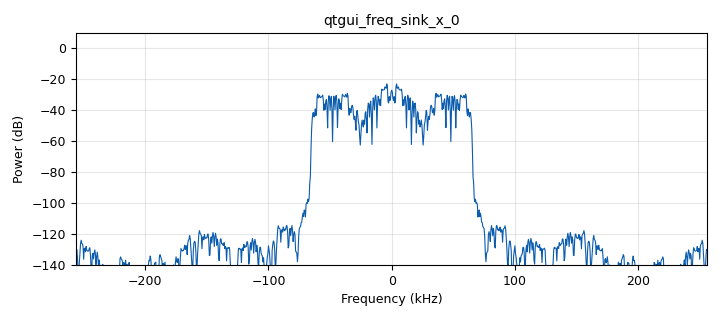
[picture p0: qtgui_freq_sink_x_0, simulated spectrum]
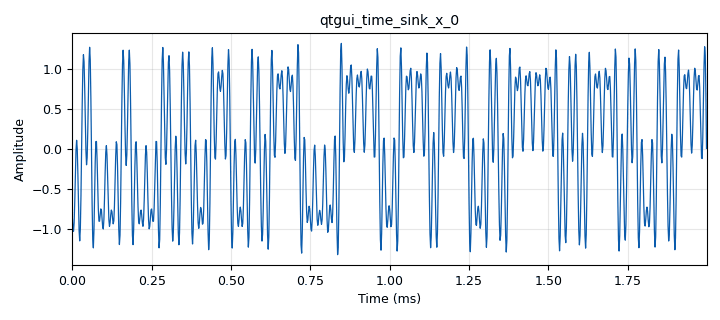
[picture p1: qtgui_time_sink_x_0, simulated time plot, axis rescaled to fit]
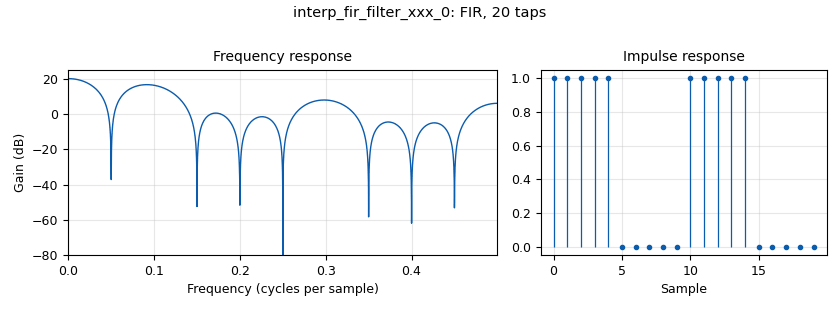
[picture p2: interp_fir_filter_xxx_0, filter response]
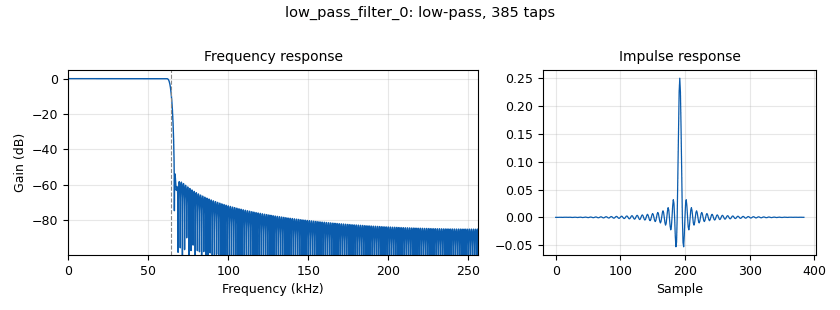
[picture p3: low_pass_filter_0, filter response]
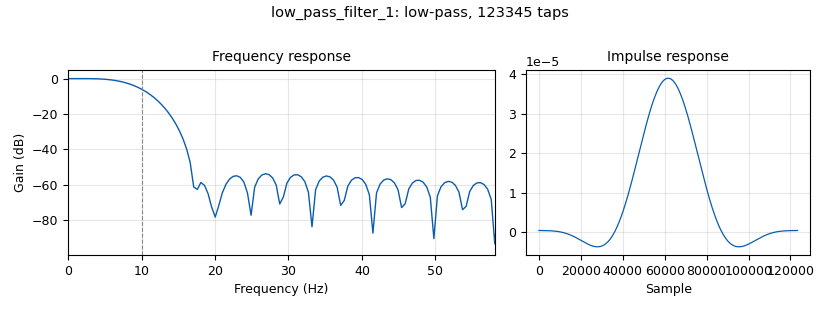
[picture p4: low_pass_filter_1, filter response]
<?xml version='1.0' encoding='utf-8'?>
<?grc format='1' created='3.7.10'?>
<flow_graph>
<block>
<key>options</key>
<param><key>id</key><value>power_spectral_density_and_average_power</value></param>
<param><key>author</key><value>Alexandros-Apostolos A. Boulogeorgos</value></param>
<param><key>generate_options</key><value>qt_gui</value></param>
<param><key>title</key><value>Power spectral density and average power</value></param>
</block>
<block>
<key>variable</key>
<param><key>id</key><value>glfsrSourceDegree</value></param>
<param><key>value</key><value>22</value></param>
</block>
<block>
<key>variable</key>
<param><key>id</key><value>interpolation</value></param>
<param><key>value</key><value>16</value></param>
</block>
<block>
<key>variable</key>
<param><key>id</key><value>samp_rate</value></param>
<param><key>value</key><value>512000</value></param>
</block>
<block>
<key>variable</key>
<param><key>id</key><value>sr</value></param>
<param><key>value</key><value>32000</value></param>
</block>
<block>
<key>blocks_multiply_xx</key>
<param><key>id</key><value>blocks_multiply_xx_0</value></param>
<param><key>type</key><value>float</value></param>
</block>
<block>
<key>blocks_throttle</key>
<param><key>id</key><value>blocks_throttle_0</value></param>
<param><key>samples_per_second</key><value>sr</value></param>
<param><key>type</key><value>float</value></param>
</block>
<block>
<key>digital_glfsr_source_x</key>
<param><key>id</key><value>digital_glfsr_source_x_0</value></param>
<param><key>degree</key><value>glfsrSourceDegree</value></param>
<param><key>mask</key><value>0</value></param>
<param><key>repeat</key><value>True</value></param>
<param><key>seed</key><value>1</value></param>
<param><key>type</key><value>float</value></param>
</block>
<block>
<key>interp_fir_filter_xxx</key>
<param><key>id</key><value>interp_fir_filter_xxx_0</value></param>
<param><key>interp</key><value>interpolation</value></param>
<param><key>taps</key><value>(1, 1, 1, 1, 1, 0, 0, 0, 0, 0,1, 1, 1, 1, 1, 0, 0, 0, 0, 0)</value></param>
<param><key>type</key><value>fff</value></param>
</block>
<block>
<key>low_pass_filter</key>
<param><key>id</key><value>low_pass_filter_0</value></param>
<param><key>cutoff_freq</key><value>64000</value></param>
<param><key>decim</key><value>1</value></param>
<param><key>type</key><value>fir_filter_fff</value></param>
<param><key>gain</key><value>1</value></param>
<param><key>samp_rate</key><value>samp_rate</value></param>
<param><key>width</key><value>3200</value></param>
<param><key>win</key><value>firdes.WIN_HAMMING</value></param>
</block>
<block>
<key>low_pass_filter</key>
<param><key>id</key><value>low_pass_filter_1</value></param>
<param><key>cutoff_freq</key><value>10</value></param>
<param><key>decim</key><value>1</value></param>
<param><key>type</key><value>fir_filter_fff</value></param>
<param><key>gain</key><value>1</value></param>
<param><key>samp_rate</key><value>samp_rate</value></param>
<param><key>width</key><value>10</value></param>
<param><key>win</key><value>firdes.WIN_HAMMING</value></param>
</block>
<block>
<key>qtgui_freq_sink_x</key>
<param><key>id</key><value>qtgui_freq_sink_x_0</value></param>
<param><key>bw</key><value>samp_rate</value></param>
<param><key>fc</key><value>0</value></param>
<param><key>fftsize</key><value>1024</value></param>
<param><key>gui_hint</key><value>1,0,1,1</value></param>
<param><key>showports</key><value>True</value></param>
<param><key>type</key><value>float</value></param>
<param><key>wintype</key><value>firdes.WIN_BLACKMAN_hARRIS</value></param>
<param><key>label</key><value>Power</value></param>
</block>
<block>
<key>qtgui_number_sink</key>
<param><key>id</key><value>qtgui_number_sink_0</value></param>
<param><key>autoscale</key><value>True</value></param>
<param><key>gui_hint</key><value>0,1,2,1</value></param>
<param><key>graph_type</key><value>qtgui.NUM_GRAPH_VERT</value></param>
<param><key>type</key><value>float</value></param>
<param><key>name</key><value>"Average Power"</value></param>
</block>
<block>
<key>qtgui_time_sink_x</key>
<param><key>id</key><value>qtgui_time_sink_x_0</value></param>
<param><key>gui_hint</key><value>0,0,1,1</value></param>
<param><key>color1</key><value>"blue"</value></param>
<param><key>label1</key><value></value></param>
<param><key>size</key><value>1024</value></param>
<param><key>srate</key><value>samp_rate</value></param>
<param><key>type</key><value>float</value></param>
</block>
<connection><source_block_id>blocks_multiply_xx_0</source_block_id><sink_block_id>low_pass_filter_1</sink_block_id><source_key>0</source_key><sink_key>0</sink_key></connection>
<connection><source_block_id>blocks_throttle_0</source_block_id><sink_block_id>interp_fir_filter_xxx_0</sink_block_id><source_key>0</source_key><sink_key>0</sink_key></connection>
<connection><source_block_id>digital_glfsr_source_x_0</source_block_id><sink_block_id>blocks_throttle_0</sink_block_id><source_key>0</source_key><sink_key>0</sink_key></connection>
<connection><source_block_id>interp_fir_filter_xxx_0</source_block_id><sink_block_id>low_pass_filter_0</sink_block_id><source_key>0</source_key><sink_key>0</sink_key></connection>
<connection><source_block_id>low_pass_filter_0</source_block_id><sink_block_id>blocks_multiply_xx_0</sink_block_id><source_key>0</source_key><sink_key>0</sink_key></connection>
<connection><source_block_id>low_pass_filter_0</source_block_id><sink_block_id>blocks_multiply_xx_0</sink_block_id><source_key>0</source_key><sink_key>1</sink_key></connection>
<connection><source_block_id>low_pass_filter_0</source_block_id><sink_block_id>qtgui_freq_sink_x_0</sink_block_id><source_key>0</source_key><sink_key>0</sink_key></connection>
<connection><source_block_id>low_pass_filter_0</source_block_id><sink_block_id>qtgui_time_sink_x_0</sink_block_id><source_key>0</source_key><sink_key>0</sink_key></connection>
<connection><source_block_id>low_pass_filter_1</source_block_id><sink_block_id>qtgui_number_sink_0</sink_block_id><source_key>0</source_key><sink_key>0</sink_key></connection>
</flow_graph>
